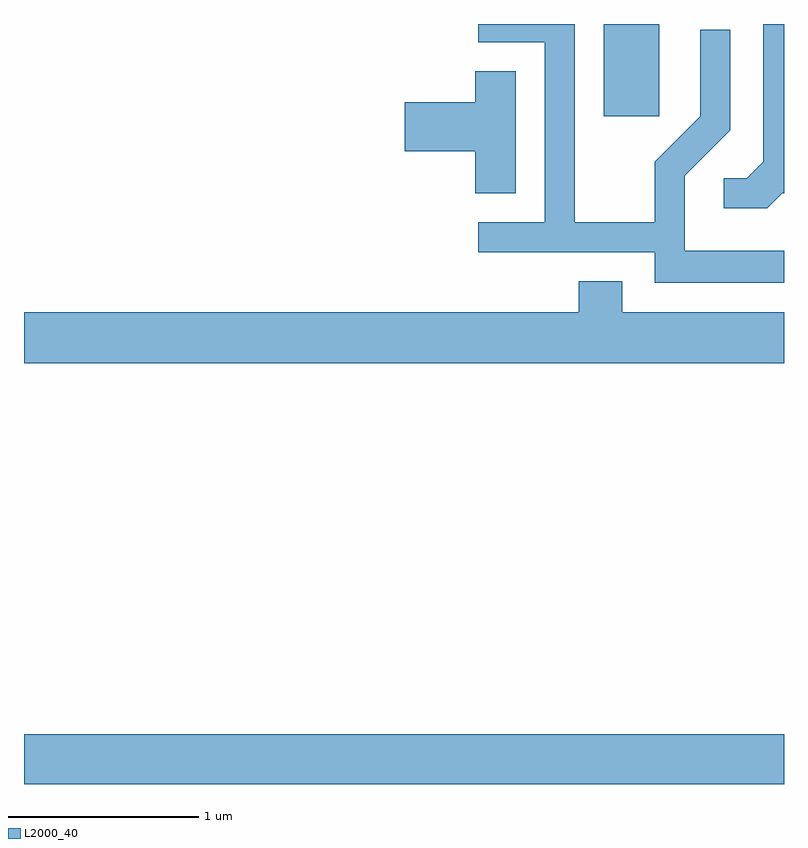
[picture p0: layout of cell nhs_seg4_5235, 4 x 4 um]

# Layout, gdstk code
import gdstk
lib = gdstk.Library(unit=1e-6, precision=1e-09)
def R(c, l, rs):  # rectangles x0, y0, x1, y1
    for r in rs: c.add(gdstk.rectangle(r[:2], r[2:], *l))
def P(c, l, *ps):  # polygons
    for p in ps: c.add(gdstk.Polygon(p, *l))
L2000_40 = (2000, 40)

nhs_seg4_5235 = lib.new_cell('nhs_seg4_5235')
R(nhs_seg4_5235, L2000_40, [(337.611,1387.982,341.611,1388.244), (340.661,1391.496,340.954,1391.982)])
P(nhs_seg4_5235, L2000_40, [(341.602,1391.091),(341.611,1391.091),(341.611,1391.982),(341.501,1391.982),(341.501,1391.257),(341.414,1391.169),(341.293,1391.169),(341.293,1391.011),(341.522,1391.011)],
  [(341.611,1390.789),(341.089,1390.789),(341.089,1391.184),(341.329,1391.424),(341.329,1391.953),(341.171,1391.953),(341.171,1391.497),(340.931,1391.257),(340.931,1390.939),(340.509,1390.939),(340.509,1391.982),(340.003,1391.982),(340.003,1391.886),(340.351,1391.886),(340.351,1390.939),(340.003,1390.939),(340.003,1390.781),(340.931,1390.781),(340.931,1390.621),(341.611,1390.621)],
  [(340.199,1391.734),(339.986,1391.734),(339.986,1391.569),(339.616,1391.569),(339.616,1391.311),(339.986,1391.311),(339.986,1391.091),(340.199,1391.091)],
  [(340.531,1390.629),(340.531,1390.464),(337.611,1390.464),(337.611,1390.196),(341.611,1390.196),(341.611,1390.464),(340.759,1390.464),(340.759,1390.629)])

lib.write_gds('nhs_seg4_5235.gds')
